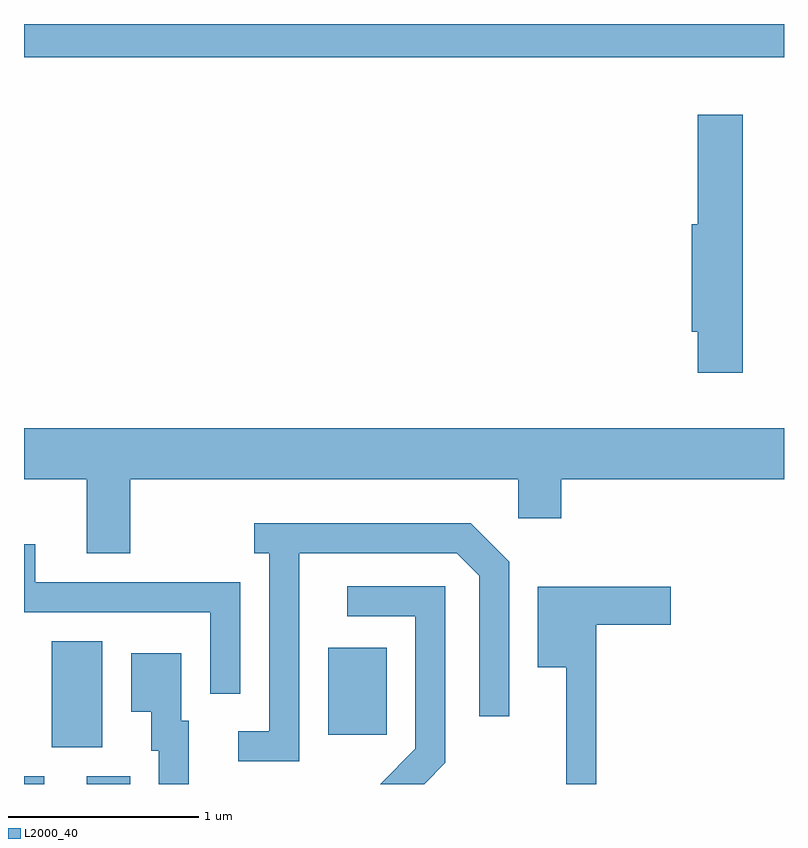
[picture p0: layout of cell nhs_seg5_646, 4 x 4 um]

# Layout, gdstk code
import gdstk
lib = gdstk.Library(unit=1e-6, precision=1e-09)
def R(c, l, rs):  # rectangles x0, y0, x1, y1
    for r in rs: c.add(gdstk.rectangle(r[:2], r[2:], *l))
def P(c, l, *ps):  # polygons
    for p in ps: c.add(gdstk.Polygon(p, *l))
L2000_40 = (2000, 40)

nhs_seg5_646 = lib.new_cell('nhs_seg5_646')
R(nhs_seg5_646, L2000_40, [(203.611,1464.072,203.718,1464.114), (203.941,1464.072,204.169,1464.114), (203.756,1464.266,204.024,1464.824), (205.211,1464.331,205.519,1464.789), (203.611,1467.896,207.611,1468.072)])
P(nhs_seg5_646, L2000_40, [(207.394,1467.594),(207.156,1467.594),(207.156,1467.019),(207.126,1467.019),(207.126,1466.451),(207.156,1466.451),(207.156,1466.236),(207.394,1466.236)],
  [(204.169,1465.676),(206.211,1465.676),(206.211,1465.471),(206.439,1465.471),(206.439,1465.676),(207.611,1465.676),(207.611,1465.944),(203.611,1465.944),(203.611,1465.676),(203.941,1465.676),(203.941,1465.286),(204.169,1465.286)],
  [(205.059,1465.286),(205.889,1465.286),(206.006,1465.169),(206.006,1464.428),(206.164,1464.428),(206.164,1465.242),(205.962,1465.444),(204.823,1465.444),(204.823,1465.286),(204.901,1465.286),(204.901,1464.349),(204.738,1464.349),(204.738,1464.191),(205.059,1464.191)],
  [(204.749,1465.134),(203.669,1465.134),(203.669,1465.334),(203.611,1465.334),(203.611,1464.976),(204.591,1464.976),(204.591,1464.548),(204.749,1464.548)],
  [(205.829,1464.184),(205.829,1465.114),(205.313,1465.114),(205.313,1464.956),(205.671,1464.956),(205.671,1464.257),(205.487,1464.072),(205.717,1464.072)],
  [(206.624,1464.911),(207.014,1464.911),(207.014,1465.109),(206.316,1465.109),(206.316,1464.686),(206.466,1464.686),(206.466,1464.072),(206.624,1464.072)],
  [(204.479,1464.404),(204.439,1464.404),(204.439,1464.759),(204.176,1464.759),(204.176,1464.451),(204.281,1464.451),(204.281,1464.246),(204.321,1464.246),(204.321,1464.072),(204.479,1464.072)])

lib.write_gds('nhs_seg5_646.gds')
